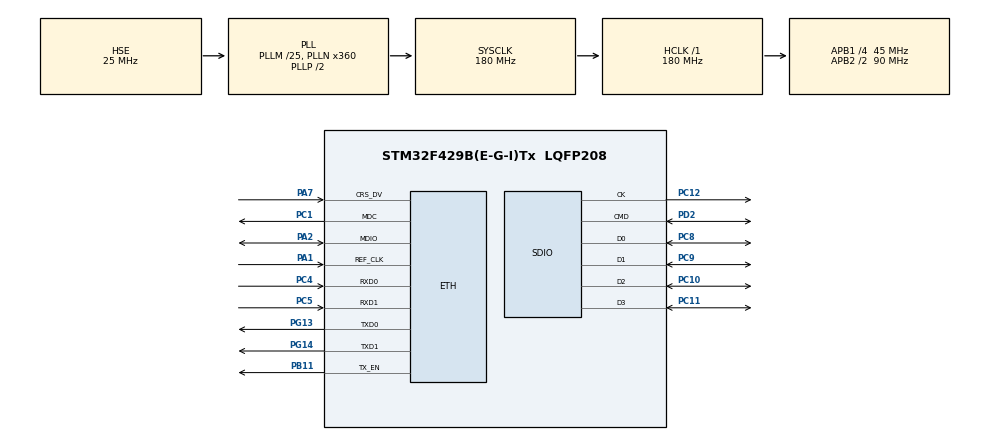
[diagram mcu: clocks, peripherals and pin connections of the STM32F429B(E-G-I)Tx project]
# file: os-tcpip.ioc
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Dma.Request0=SDIO_RX
Dma.Request1=SDIO_TX
Dma.SDIO_RX.0.Direction=DMA_PERIPH_TO_MEMORY
Dma.SDIO_RX.0.FIFOMode=DMA_FIFOMODE_ENABLE
Dma.SDIO_RX.0.FIFOThreshold=DMA_FIFO_THRESHOLD_FULL
Dma.SDIO_RX.0.Instance=DMA2_Stream3
Dma.SDIO_RX.0.MemBurst=DMA_MBURST_INC4
Dma.SDIO_RX.0.MemDataAlignment=DMA_MDATAALIGN_WORD
Dma.SDIO_RX.0.MemInc=DMA_MINC_ENABLE
Dma.SDIO_RX.0.Mode=DMA_PFCTRL
Dma.SDIO_RX.0.PeriphBurst=DMA_PBURST_INC4
Dma.SDIO_RX.0.PeriphDataAlignment=DMA_PDATAALIGN_WORD
Dma.SDIO_RX.0.PeriphInc=DMA_PINC_DISABLE
Dma.SDIO_RX.0.Priority=DMA_PRIORITY_LOW
Dma.SDIO_TX.1.Direction=DMA_MEMORY_TO_PERIPH
Dma.SDIO_TX.1.FIFOMode=DMA_FIFOMODE_ENABLE
Dma.SDIO_TX.1.FIFOThreshold=DMA_FIFO_THRESHOLD_FULL
Dma.SDIO_TX.1.Instance=DMA2_Stream6
Dma.SDIO_TX.1.MemBurst=DMA_MBURST_INC4
Dma.SDIO_TX.1.MemDataAlignment=DMA_MDATAALIGN_WORD
Dma.SDIO_TX.1.MemInc=DMA_MINC_ENABLE
Dma.SDIO_TX.1.Mode=DMA_PFCTRL
Dma.SDIO_TX.1.PeriphBurst=DMA_PBURST_INC4
Dma.SDIO_TX.1.PeriphDataAlignment=DMA_PDATAALIGN_WORD
Dma.SDIO_TX.1.PeriphInc=DMA_PINC_DISABLE
Dma.SDIO_TX.1.Priority=DMA_PRIORITY_LOW
ETH.MediaInterface=ETH_MEDIA_INTERFACE_RMII
ETH.PHY_DUPLEX_STATUS=0x0010
ETH.PHY_Name_RMII=userPHY
ETH.PHY_SPEED_STATUS=0x0004
ETH.PHY_SR=31
ETH.PHY_User_Name=LAN8720
ETH.PhyAddress=1
FATFS._CODE_PAGE=936
FREERTOS.HEAP_NUMBER=5
FREERTOS.Tasks01=defaultTask,0,512,StartDefaultTask,Default,NULL,Dynamic,NULL,NULL
FREERTOS.configGENERATE_RUN_TIME_STATS=1
FREERTOS.configTOTAL_HEAP_SIZE=40960
FREERTOS.configUSE_STATS_FORMATTING_FUNCTIONS=1
FREERTOS.configUSE_TRACE_FACILITY=1
LWIP.GATEWAY_ADDRESS=192.168.003.001
LWIP.IP_ADDRESS=192.168.003.123
LWIP.LWIP_DHCP=0
LWIP.MEMP_NUM_TCP_PCB=8
LWIP.NETMASK_ADDRESS=255.255.255.000
LWIP.Version=v2.0.3_Cube
Mcu.Family=STM32F4
Mcu.Name=STM32F429B(E-G-I)Tx
Mcu.Package=LQFP208
NVIC.DMA2_Stream3_IRQn=true\:5\:0\:false\:false\:true\:true\:false
NVIC.DMA2_Stream6_IRQn=true\:5\:0\:false\:false\:true\:true\:false
NVIC.ETH_IRQn=true\:5\:0\:false\:false\:true\:true\:false
NVIC.PriorityGroup=NVIC_PRIORITYGROUP_4
NVIC.SDIO_IRQn=true\:5\:0\:false\:false\:true\:true\:true
PA1.Mode=RMII
PA1.Signal=ETH_REF_CLK
PA13.Mode=Serial_Wire
PA13.Signal=SYS_JTMS-SWDIO
PA14.Mode=Serial_Wire
PA14.Signal=SYS_JTCK-SWCLK
PA2.Mode=RMII
PA2.Signal=ETH_MDIO
PA7.Mode=RMII
PA7.Signal=ETH_CRS_DV
PB11.Mode=RMII
PB11.Signal=ETH_TX_EN
PC1.Mode=RMII
PC1.Signal=ETH_MDC
PC10.Mode=SD_4_bits_Wide_bus
PC10.Signal=SDIO_D2
PC11.Mode=SD_4_bits_Wide_bus
PC11.Signal=SDIO_D3
PC12.Mode=SD_4_bits_Wide_bus
PC12.Signal=SDIO_CK
PC4.Mode=RMII
PC4.Signal=ETH_RXD0
PC5.Mode=RMII
PC5.Signal=ETH_RXD1
PC8.Mode=SD_4_bits_Wide_bus
PC8.Signal=SDIO_D0
PC9.Mode=SD_4_bits_Wide_bus
PC9.Signal=SDIO_D1
PD2.Mode=SD_4_bits_Wide_bus
PD2.Signal=SDIO_CMD
PG13.Mode=RMII
PG13.Signal=ETH_TXD0
PG14.Mode=RMII
PG14.Signal=ETH_TXD1
PH0/OSC_IN.Mode=HSE-External-Oscillator
PH0/OSC_IN.Signal=RCC_OSC_IN
PH1/OSC_OUT.Mode=HSE-External-Oscillator
PH1/OSC_OUT.Signal=RCC_OSC_OUT
ProjectManager.HeapSize=0x400
ProjectManager.StackSize=0x800
ProjectManager.TargetToolchain=MDK-ARM V5
RCC.48MHZClocksFreq_Value=45000000
RCC.AHBFreq_Value=180000000
RCC.APB1CLKDivider=RCC_HCLK_DIV4
RCC.APB1Freq_Value=45000000
RCC.APB1TimFreq_Value=90000000
RCC.APB2CLKDivider=RCC_HCLK_DIV2
RCC.APB2Freq_Value=90000000
RCC.APB2TimFreq_Value=180000000
RCC.CortexFreq_Value=180000000
RCC.HCLKFreq_Value=180000000
RCC.HSE_VALUE=25000000
RCC.HSI_VALUE=16000000
RCC.LSE_VALUE=32768
RCC.PLLM=25
RCC.PLLN=360
RCC.PLLQ=8
RCC.PLLSourceVirtual=RCC_PLLSOURCE_HSE
RCC.SYSCLKFreq_VALUE=180000000
RCC.SYSCLKSource=RCC_SYSCLKSOURCE_PLLCLK
RCC.VCOOutputFreq_Value=360000000
VP_FATFS_VS_SDIO.Mode=SDIO
VP_FREERTOS_VS_ENABLE.Mode=Enabled
VP_LWIP_VS_Enabled.Mode=Enabled
board=custom

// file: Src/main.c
/**
  ******************************************************************************
  * @file           : main.c
  * @brief          : Main program body
  ******************************************************************************
  * This notice applies to any and all portions of this file
  * that are not between comment pairs USER CODE BEGIN and
  * USER CODE END. Other portions of this file, whether
  * inserted by the user or by software development tools
  * are owned by their respective copyright owners.
  *
  * Copyright (c) 2018 STMicroelectronics International N.V.
  * All rights reserved.
  *
  * Redistribution and use in source and binary forms, with or without
  * modification, are permitted, provided that the following conditions are met:
  *
  * 1. Redistribution of source code must retain the above copyright notice,
  *    this list of conditions and the following disclaimer.
  * 2. Redistributions in binary form must reproduce the above copyright notice,
  *    this list of conditions and the following disclaimer in the documentation
  *    and/or other materials provided with the distribution.
  * 3. Neither the name of STMicroelectronics nor the names of other
  *    contributors to this software may be used to endorse or promote products
  *    derived from this software without specific written permission.
  * 4. This software, including modifications and/or derivative works of this
  *    software, must execute solely and exclusively on microcontroller or
  *    microprocessor devices manufactured by or for STMicroelectronics.
  * 5. Redistribution and use of this software other than as permitted under
  *    this license is void and will automatically terminate your rights under
  *    this license.
  *
  * THIS SOFTWARE IS PROVIDED BY STMICROELECTRONICS AND CONTRIBUTORS "AS IS"
  * AND ANY EXPRESS, IMPLIED OR STATUTORY WARRANTIES, INCLUDING, BUT NOT
  * LIMITED TO, THE IMPLIED WARRANTIES OF MERCHANTABILITY, FITNESS FOR A
  * PARTICULAR PURPOSE AND NON-INFRINGEMENT OF THIRD PARTY INTELLECTUAL PROPERTY
  * RIGHTS ARE DISCLAIMED TO THE FULLEST EXTENT PERMITTED BY LAW. IN NO EVENT
  * SHALL STMICROELECTRONICS OR CONTRIBUTORS BE LIABLE FOR ANY DIRECT, INDIRECT,
  * INCIDENTAL, SPECIAL, EXEMPLARY, OR CONSEQUENTIAL DAMAGES (INCLUDING, BUT NOT
  * LIMITED TO, PROCUREMENT OF SUBSTITUTE GOODS OR SERVICES; LOSS OF USE, DATA,
  * OR PROFITS; OR BUSINESS INTERRUPTION) HOWEVER CAUSED AND ON ANY THEORY OF
  * LIABILITY, WHETHER IN CONTRACT, STRICT LIABILITY, OR TORT (INCLUDING
  * NEGLIGENCE OR OTHERWISE) ARISING IN ANY WAY OUT OF THE USE OF THIS SOFTWARE,
  * EVEN IF ADVISED OF THE POSSIBILITY OF SUCH DAMAGE.
  *
  ******************************************************************************
  */
#include "main.h"
#include "stm32f4xx_hal.h"
#include "cmsis_os.h"
#include "dma.h"
#include "fatfs.h"
#include "lwip.h"
#include "sdio.h"
#include "gpio.h"

/* USER CODE BEGIN Includes */
#include "shell.h"
#include "serial_hal.h"
#include "serial_console.h"
/* USER CODE END Includes */

/* USER CODE BEGIN PV */
/* Private variables ---------------------------------------------------------*/

// 控制台图标
const char stm32logo[]=
"\r\n\r\n\
	 ____  _____  __  __  ____  ____\r\n\
	/ ___||__ __||  \\/  ||___ \\|___ \\COPYRIGHT(c):\r\n\
	\\___ \\  | |  | |\\/| | |__ |/ ___/GoodMorning\r\n\
	|____/  |_|  |_|  |_||____/\\____|2018/11\r\n\r\n";

/* USER CODE END PV */

void SystemClock_Config(void);
void MX_FREERTOS_Init(void);

/* USER CODE BEGIN PFP */
/* Private function prototypes -----------------------------------------------*/

/* USER CODE END PFP */

int main(void)
{
  /* USER CODE BEGIN 1 */

 /* 如果动用了 freertos ，在stm32f429xx.h 把 __NVIC_PRIO_BITS 宏的 U 去掉，中断级别不能低于4 */
 /* 如果动用了 sd 卡 ，初始化引脚要设为上拉 */
 /* 如果动用了 lwip 记得修改 MEMP_NUM_NETCONN ，MEMP_NUM_NETBUF */
  /*修改lwipopts.h中的 MEMP_NUM_NETCONN  值*/
 /* 如果动用了 uip 记得修改 crc 校验硬件 */
  SCB->VTOR = FLASH_BASE|0x20000;
  __enable_irq();//打开总中断

  /* USER CODE END 1 */

  /* MCU Configuration----------------------------------------------------------*/

  /* Reset of all peripherals, Initializes the Flash interface and the Systick. */
  HAL_Init();

  /* Configure the system clock */
  SystemClock_Config();

  /* Initialize all configured peripherals */
  MX_GPIO_Init();
  MX_DMA_Init();
  MX_SDIO_SD_Init();
  /* USER CODE BEGIN 2 */
  ioctrl(LED1, Output);
  ioctrl(LED2, Output);
  ioctrl(LED1,0);
  ioctrl(LED2,0);

  shell_init("lwip-freertos>",serial_puts);
  serial_console_init((char*)stm32logo);

  /* USER CODE END 2 */

  /* Call init function for freertos objects (in freertos.c) */
  MX_FREERTOS_Init();

  /* Start scheduler */
  osKernelStart();

  /* We should never get here as control is now taken by the scheduler */

  /* Infinite loop */
  while (1)
  {

  }

}

void SystemClock_Config(void)
{

  RCC_OscInitTypeDef RCC_OscInitStruct;
  RCC_ClkInitTypeDef RCC_ClkInitStruct;

    /**Configure the main internal regulator output voltage
    */
  __HAL_RCC_PWR_CLK_ENABLE();

  __HAL_PWR_VOLTAGESCALING_CONFIG(PWR_REGULATOR_VOLTAGE_SCALE1);

    /**Initializes the CPU, AHB and APB busses clocks
    */
  RCC_OscInitStruct.OscillatorType = RCC_OSCILLATORTYPE_HSE;
  RCC_OscInitStruct.HSEState = RCC_HSE_ON;
  RCC_OscInitStruct.PLL.PLLState = RCC_PLL_ON;
  RCC_OscInitStruct.PLL.PLLSource = RCC_PLLSOURCE_HSE;
  RCC_OscInitStruct.PLL.PLLM = 25;
  RCC_OscInitStruct.PLL.PLLN = 360;
  RCC_OscInitStruct.PLL.PLLP = RCC_PLLP_DIV2;
  RCC_OscInitStruct.PLL.PLLQ = 8;
  if (HAL_RCC_OscConfig(&RCC_OscInitStruct) != HAL_OK)
  {
    _Error_Handler(__FILE__, __LINE__);
  }

    /**Activate the Over-Drive mode
    */
  if (HAL_PWREx_EnableOverDrive() != HAL_OK)
  {
    _Error_Handler(__FILE__, __LINE__);
  }

    /**Initializes the CPU, AHB and APB busses clocks
    */
  RCC_ClkInitStruct.ClockType = RCC_CLOCKTYPE_HCLK|RCC_CLOCKTYPE_SYSCLK
                              |RCC_CLOCKTYPE_PCLK1|RCC_CLOCKTYPE_PCLK2;
  RCC_ClkInitStruct.SYSCLKSource = RCC_SYSCLKSOURCE_PLLCLK;
  RCC_ClkInitStruct.AHBCLKDivider = RCC_SYSCLK_DIV1;
  RCC_ClkInitStruct.APB1CLKDivider = RCC_HCLK_DIV4;
  RCC_ClkInitStruct.APB2CLKDivider = RCC_HCLK_DIV2;

  if (HAL_RCC_ClockConfig(&RCC_ClkInitStruct, FLASH_LATENCY_5) != HAL_OK)
  {
    _Error_Handler(__FILE__, __LINE__);
  }

    /**Configure the Systick interrupt time
    */
  HAL_SYSTICK_Config(HAL_RCC_GetHCLKFreq()/1000);

    /**Configure the Systick
    */
  HAL_SYSTICK_CLKSourceConfig(SYSTICK_CLKSOURCE_HCLK);

  /* SysTick_IRQn interrupt configuration */
  HAL_NVIC_SetPriority(SysTick_IRQn, 15, 0);
}

void _Error_Handler(char *file, int line)
{
  while(1)
  {
  }
}

/************************ (C) COPYRIGHT STMicroelectronics *****END OF FILE****/

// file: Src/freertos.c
/**
  ******************************************************************************
  * File Name          : freertos.c
  * Description        : Code for freertos applications
  ******************************************************************************
  * This notice applies to any and all portions of this file
  * that are not between comment pairs USER CODE BEGIN and
  * USER CODE END. Other portions of this file, whether
  * inserted by the user or by software development tools
  * are owned by their respective copyright owners.
  *
  * Copyright (c) 2018 STMicroelectronics International N.V.
  * All rights reserved.
  *
  * Redistribution and use in source and binary forms, with or without
  * modification, are permitted, provided that the following conditions are met:
  *
  * 1. Redistribution of source code must retain the above copyright notice,
  *    this list of conditions and the following disclaimer.
  * 2. Redistributions in binary form must reproduce the above copyright notice,
  *    this list of conditions and the following disclaimer in the documentation
  *    and/or other materials provided with the distribution.
  * 3. Neither the name of STMicroelectronics nor the names of other
  *    contributors to this software may be used to endorse or promote products
  *    derived from this software without specific written permission.
  * 4. This software, including modifications and/or derivative works of this
  *    software, must execute solely and exclusively on microcontroller or
  *    microprocessor devices manufactured by or for STMicroelectronics.
  * 5. Redistribution and use of this software other than as permitted under
  *    this license is void and will automatically terminate your rights under
  *    this license.
  *
  * THIS SOFTWARE IS PROVIDED BY STMICROELECTRONICS AND CONTRIBUTORS "AS IS"
  * AND ANY EXPRESS, IMPLIED OR STATUTORY WARRANTIES, INCLUDING, BUT NOT
  * LIMITED TO, THE IMPLIED WARRANTIES OF MERCHANTABILITY, FITNESS FOR A
  * PARTICULAR PURPOSE AND NON-INFRINGEMENT OF THIRD PARTY INTELLECTUAL PROPERTY
  * RIGHTS ARE DISCLAIMED TO THE FULLEST EXTENT PERMITTED BY LAW. IN NO EVENT
  * SHALL STMICROELECTRONICS OR CONTRIBUTORS BE LIABLE FOR ANY DIRECT, INDIRECT,
  * INCIDENTAL, SPECIAL, EXEMPLARY, OR CONSEQUENTIAL DAMAGES (INCLUDING, BUT NOT
  * LIMITED TO, PROCUREMENT OF SUBSTITUTE GOODS OR SERVICES; LOSS OF USE, DATA,
  * OR PROFITS; OR BUSINESS INTERRUPTION) HOWEVER CAUSED AND ON ANY THEORY OF
  * LIABILITY, WHETHER IN CONTRACT, STRICT LIABILITY, OR TORT (INCLUDING
  * NEGLIGENCE OR OTHERWISE) ARISING IN ANY WAY OUT OF THE USE OF THIS SOFTWARE,
  * EVEN IF ADVISED OF THE POSSIBILITY OF SUCH DAMAGE.
  *
  ******************************************************************************
  */

#include "FreeRTOS.h"
#include "task.h"
#include "cmsis_os.h"

/* USER CODE BEGIN Includes */
#include "ftp_server.h"
#include "telnet_server.h"
/* USER CODE END Includes */

osThreadId defaultTaskHandle;

void StartDefaultTask(void const * argument);

extern void MX_LWIP_Init(void);
extern void MX_FATFS_Init(void);
void MX_FREERTOS_Init(void); /* (MISRA C 2004 rule 8.1) */

/* Hook prototypes */
void configureTimerForRunTimeStats(void);
unsigned long getRunTimeCounterValue(void);

/* USER CODE BEGIN 1 */
/* Functions needed when configGENERATE_RUN_TIME_STATS is on */

volatile unsigned long lThreadRuntime = 0;
__weak void configureTimerForRunTimeStats(void)
{
	lThreadRuntime = 0;
}

__weak unsigned long getRunTimeCounterValue(void)
{
	return lThreadRuntime;
}

/* USER CODE END 1 */

/* Init FreeRTOS */

void MX_FREERTOS_Init(void) {

  /* Create the thread(s) */
  /* definition and creation of defaultTask */
  osThreadDef(defaultTask, StartDefaultTask, osPriorityNormal, 0, 512);
  defaultTaskHandle = osThreadCreate(osThread(defaultTask), NULL);

}

/* StartDefaultTask function */
void StartDefaultTask(void const * argument)
{
  /* init code for LWIP */
  MX_LWIP_Init();

  /* init code for FATFS */
  MX_FATFS_Init();

  /* USER CODE BEGIN StartDefaultTask */
  vFtp_ServerInit();
  telnet_server_init();
  /* Infinite loop */
  for(;;)
  {
  	telnet_idle_pro();
    osDelay(1);
  }
  /* USER CODE END StartDefaultTask */
}

/************************ (C) COPYRIGHT STMicroelectronics *****END OF FILE****/
